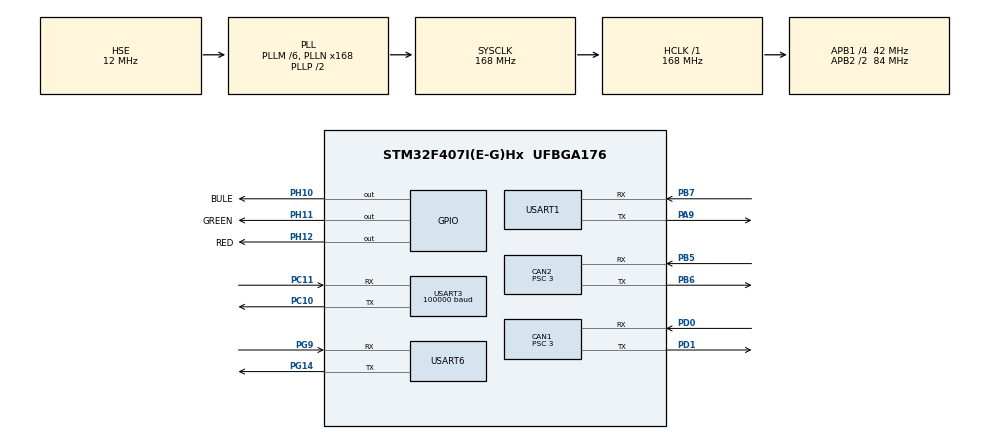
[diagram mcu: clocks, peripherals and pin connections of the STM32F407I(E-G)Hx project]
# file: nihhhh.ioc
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CAN1.BS1=CAN_BS1_10TQ
CAN1.BS2=CAN_BS2_3TQ
CAN1.CalculateBaudRate=1000000
CAN1.CalculateTimeBit=1000
CAN1.CalculateTimeQuantum=71.42857142857143
CAN1.Prescaler=3
CAN2.BS1=CAN_BS1_10TQ
CAN2.BS2=CAN_BS2_3TQ
CAN2.CalculateBaudRate=1000000
CAN2.CalculateTimeBit=1000
CAN2.CalculateTimeQuantum=71.42857142857143
CAN2.Prescaler=3
Dma.Request0=USART1_TX
Dma.Request1=USART3_RX
Dma.USART1_TX.0.Direction=DMA_MEMORY_TO_PERIPH
Dma.USART1_TX.0.FIFOMode=DMA_FIFOMODE_DISABLE
Dma.USART1_TX.0.Instance=DMA2_Stream7
Dma.USART1_TX.0.MemDataAlignment=DMA_MDATAALIGN_BYTE
Dma.USART1_TX.0.MemInc=DMA_MINC_ENABLE
Dma.USART1_TX.0.Mode=DMA_NORMAL
Dma.USART1_TX.0.PeriphDataAlignment=DMA_PDATAALIGN_BYTE
Dma.USART1_TX.0.PeriphInc=DMA_PINC_DISABLE
Dma.USART1_TX.0.Priority=DMA_PRIORITY_VERY_HIGH
Dma.USART3_RX.1.Direction=DMA_PERIPH_TO_MEMORY
Dma.USART3_RX.1.FIFOMode=DMA_FIFOMODE_DISABLE
Dma.USART3_RX.1.Instance=DMA1_Stream1
Dma.USART3_RX.1.MemDataAlignment=DMA_MDATAALIGN_BYTE
Dma.USART3_RX.1.MemInc=DMA_MINC_ENABLE
Dma.USART3_RX.1.Mode=DMA_CIRCULAR
Dma.USART3_RX.1.PeriphDataAlignment=DMA_PDATAALIGN_BYTE
Dma.USART3_RX.1.PeriphInc=DMA_PINC_DISABLE
Dma.USART3_RX.1.Priority=DMA_PRIORITY_VERY_HIGH
FREERTOS.Tasks01=defaultTask,0,128,StartDefaultTask,Default,NULL,Dynamic,NULL,NULL;LED_RED,-3,128,red_led_task,As weak,NULL,Dynamic,NULL,NULL;LED_GREEN,-3,128,green_led_task,As external,NULL,Dynamic,NULL,NULL;LED_BULE,-3,128,bule_led_task,As weak,NULL,Dynamic,NULL,NULL
Mcu.Family=STM32F4
Mcu.Name=STM32F407I(E-G)Hx
Mcu.Package=UFBGA176
NVIC.CAN1_RX0_IRQn=true\:5\:0\:false\:false\:true\:true\:true\:true\:true
NVIC.DMA1_Stream1_IRQn=true\:5\:0\:false\:false\:true\:true\:false\:true\:true
NVIC.DMA2_Stream7_IRQn=true\:5\:0\:false\:false\:true\:true\:false\:true\:true
NVIC.PriorityGroup=NVIC_PRIORITYGROUP_4
NVIC.TIM1_BRK_TIM9_IRQn=true\:5\:0\:false\:false\:true\:true\:true\:true\:true
NVIC.USART1_IRQn=true\:5\:0\:false\:false\:true\:true\:true\:true\:true
NVIC.USART3_IRQn=true\:5\:0\:false\:false\:true\:true\:true\:true\:true
NVIC.USART6_IRQn=true\:5\:0\:false\:false\:true\:true\:true\:true\:true
PA13.Mode=Serial_Wire
PA13.Signal=SYS_JTMS-SWDIO
PA14.Mode=Serial_Wire
PA14.Signal=SYS_JTCK-SWCLK
PA9.Mode=Asynchronous
PA9.Signal=USART1_TX
PB5.Mode=CAN_Activate
PB5.Signal=CAN2_RX
PB6.Mode=CAN_Activate
PB6.Signal=CAN2_TX
PB7.Mode=Asynchronous
PB7.Signal=USART1_RX
PC10.Mode=Asynchronous
PC10.Signal=USART3_TX
PC11.Mode=Asynchronous
PC11.Signal=USART3_RX
PD0.Mode=CAN_Activate
PD0.Signal=CAN1_RX
PD1.Mode=CAN_Activate
PD1.Signal=CAN1_TX
PG14.Mode=Asynchronous
PG14.Signal=USART6_TX
PG9.Mode=Asynchronous
PG9.Signal=USART6_RX
PH0-OSC_IN.Mode=HSE-External-Oscillator
PH0-OSC_IN.Signal=RCC_OSC_IN
PH1-OSC_OUT.Mode=HSE-External-Oscillator
PH1-OSC_OUT.Signal=RCC_OSC_OUT
PH10.GPIO_Label=BULE
PH10.PinState=GPIO_PIN_SET
PH10.Signal=GPIO_Output
PH11.GPIO_Label=GREEN
PH11.PinState=GPIO_PIN_SET
PH11.Signal=GPIO_Output
PH12.GPIO_Label=RED
PH12.PinState=GPIO_PIN_SET
PH12.Signal=GPIO_Output
ProjectManager.HeapSize=0x200
ProjectManager.StackSize=0x400
ProjectManager.TargetToolchain=MDK-ARM V5.32
RCC.48MHZClocksFreq_Value=84000000
RCC.AHBFreq_Value=168000000
RCC.APB1CLKDivider=RCC_HCLK_DIV4
RCC.APB1Freq_Value=42000000
RCC.APB1TimFreq_Value=84000000
RCC.APB2CLKDivider=RCC_HCLK_DIV2
RCC.APB2Freq_Value=84000000
RCC.APB2TimFreq_Value=168000000
RCC.CortexFreq_Value=168000000
RCC.HCLKFreq_Value=168000000
RCC.HSE_VALUE=12000000
RCC.HSI_VALUE=16000000
RCC.LSE_VALUE=32768
RCC.PLLM=6
RCC.PLLN=168
RCC.PLLSourceVirtual=RCC_PLLSOURCE_HSE
RCC.SYSCLKFreq_VALUE=168000000
RCC.SYSCLKSource=RCC_SYSCLKSOURCE_PLLCLK
RCC.VCOOutputFreq_Value=336000000
TIM9.Period=2000-1
TIM9.Prescaler=8400-1
USART1.VirtualMode=VM_ASYNC
USART3.BaudRate=100000
USART3.Parity=PARITY_EVEN
USART3.VirtualMode=VM_ASYNC
USART6.VirtualMode=VM_ASYNC
VP_FREERTOS_VS_CMSIS_V1.Mode=CMSIS_V1
VP_TIM9_VS_ClockSourceINT.Mode=Internal
board=custom

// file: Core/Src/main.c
/* USER CODE BEGIN Header */
/**
  ******************************************************************************
  * @file           : main.c
  * @brief          : Main program body
  ******************************************************************************
  * @attention
  *
  * Copyright (c) 2024 STMicroelectronics.
  * All rights reserved.
  *
  * This software is licensed under terms that can be found in the LICENSE file
  * in the root directory of this software component.
  * If no LICENSE file comes with this software, it is provided AS-IS.
  *
  ******************************************************************************
  */
/* USER CODE END Header */
#include "main.h"
#include "cmsis_os.h"
#include "can.h"
#include "dma.h"
#include "tim.h"
#include "usart.h"
#include "gpio.h"
#include "gimbal_task.h"

/* USER CODE BEGIN PTD */

const fp32 PID_Speed_3508[3]={10000,10,10};  //3508速度环PID参数
const fp32 PID_Speed[3]={40,0.2,10};  //速度环PID参数
const fp32 PID_Angle[3]={150,0,3};
const fp32 PID_Speed_yaw[3] = {20,0,10};
const fp32 PID_Angle_yaw[3] = {500,1,80};
float seth = 175;
float setb = 10;
int a = 0;
int temp = 0;

//const RC_ctrl_t *local_rc_ctrl;

/* USER CODE END PTD */

/* USER CODE BEGIN PM */
float Angle_Change(int a)
{
	return (float)((a/8191.0)*2*180);
}
//**//
float RC_change(int a)
{
	if(a>=0)
	{
		a = (float)((a/660.0)*180+180);
		if(a == 360)
		{
			a = 355;
		}
		return a;
	}
	else
	{
		a = -(float)((-a/660.0)*180-180);
		if(a == 0)
		{
			a = 5;
		}
		return a;
	}
}
/* USER CODE END PM */

void SystemClock_Config(void);
void MX_FREERTOS_Init(void);

/* USER CODE BEGIN 0 */
fp32 Angle_Current_pitch;    //6020电机转换角度(返回ecd范围为0-8191  需转换为0-360 1度为o=fp32(8191/360))
fp32 Angle_Current_yaw;
int speed;

/* USER CODE END 0 */

int main(void)
{

  /* MCU Configuration--------------------------------------------------------*/

  /* Reset of all peripherals, Initializes the Flash interface and the Systick. */
  HAL_Init();

  /* Configure the system clock */
  SystemClock_Config();

  /* Initialize all configured peripherals */
  MX_GPIO_Init();
  MX_DMA_Init();
  MX_CAN1_Init();
  MX_CAN2_Init();
  MX_USART1_UART_Init();
  MX_USART6_UART_Init();
  MX_USART3_UART_Init();
  MX_TIM9_Init();
  /* USER CODE BEGIN 2 */
  can_filter_init();            //滤波器初始化
  //**//
  remote_control_init();
  //**//
  HAL_GPIO_WritePin(GPIOH,GPIO_PIN_10,GPIO_PIN_SET);
  HAL_GPIO_WritePin(GPIOH,GPIO_PIN_11,GPIO_PIN_SET);
  HAL_GPIO_WritePin(GPIOH,GPIO_PIN_12,GPIO_PIN_SET);
  //**//
  HAL_TIM_Base_Start(&htim9);
  HAL_TIM_Base_Start_IT(&htim9);
  //**//

//  motor_data_Angle_yaw = get_yaw_gimbal_motor_measure_point(); //获取电机数据指针编号
//  motor_data_Speed[0] = get_chassis_motor_measure_point(0);
  //**//
	HAL_Delay(10);
  /* USER CODE END 2 */

  /* Call init function for freertos objects (in freertos.c) */
  MX_FREERTOS_Init();

  /* Start scheduler */
  osKernelStart();

  /* We should never get here as control is now taken by the scheduler */
  /* Infinite loop */
  /* USER CODE BEGIN WHILE */
  while (1)
  {
//	  if(Angle_Current>42&Angle_Current<48||Angle_Current>88&Angle_Current<92||Angle_Current>133&Angle_Current<138||Angle_Current>178&Angle_Current<182||Angle_Current>223&Angle_Current<227||Angle_Current>268&Angle_Current<272||Angle_Current>313&Angle_Current<317||Angle_Current>358&Angle_Current<361)
//	  {
//		  seth = seth+45;
//		  if(Angle_Current>360)
//		  {
//			  seth = seth - 360;
//		  }
//
//		  HAL_Delay(1000);
//	  }
//		seth = seth + 0.001*(local_rc_ctrl->rc.ch[0]+25);
//	    if(seth >= 355||seth <= 5)
//		{
//			if(seth >= 355)
//			{
//				seth = 355;
//			}
//			else if(seth <= 5)
//			{
//				seth = 5;
//			}
//		}
//		HAL_CAN_RxFifo0MsgPendingCallback(&hcan1);
//		Angle_Current=Angle_Change(motor_data_Angle_yaw->ecd);
//		PID_calc(&pid_yaw_angle,Angle_Current,seth); //外环
//		PID_calc(&pid_yaw_speed,motor_data_Angle_yaw->speed_rpm,pid_yaw_angle.out); //内环
//
//		CAN_cmd_gimbal(pid_yaw_speed.out,0,0,0);

	  //PID_calc(&pid_s,motor_data_Speed->speed_rpm,1000); //内环
	  //CAN_cmd_chassis(pid_s.out,0,0,0);
	  //CAN_cmd_gimbal(0,0,0,0);
//		if(Angle_Current == 90)
//		{
//			seth = 0;
//		}
		HAL_Delay(2);

    /* USER CODE END WHILE */

  }
}

void SystemClock_Config(void)
{
  RCC_OscInitTypeDef RCC_OscInitStruct = {0};
  RCC_ClkInitTypeDef RCC_ClkInitStruct = {0};

  /** Configure the main internal regulator output voltage
  */
  __HAL_RCC_PWR_CLK_ENABLE();
  __HAL_PWR_VOLTAGESCALING_CONFIG(PWR_REGULATOR_VOLTAGE_SCALE1);

  /** Initializes the RCC Oscillators according to the specified parameters
  * in the RCC_OscInitTypeDef structure.
  */
  RCC_OscInitStruct.OscillatorType = RCC_OSCILLATORTYPE_HSE;
  RCC_OscInitStruct.HSEState = RCC_HSE_ON;
  RCC_OscInitStruct.PLL.PLLState = RCC_PLL_ON;
  RCC_OscInitStruct.PLL.PLLSource = RCC_PLLSOURCE_HSE;
  RCC_OscInitStruct.PLL.PLLM = 6;
  RCC_OscInitStruct.PLL.PLLN = 168;
  RCC_OscInitStruct.PLL.PLLP = RCC_PLLP_DIV2;
  RCC_OscInitStruct.PLL.PLLQ = 4;
  if (HAL_RCC_OscConfig(&RCC_OscInitStruct) != HAL_OK)
  {
    Error_Handler();
  }

  /** Initializes the CPU, AHB and APB buses clocks
  */
  RCC_ClkInitStruct.ClockType = RCC_CLOCKTYPE_HCLK|RCC_CLOCKTYPE_SYSCLK
                              |RCC_CLOCKTYPE_PCLK1|RCC_CLOCKTYPE_PCLK2;
  RCC_ClkInitStruct.SYSCLKSource = RCC_SYSCLKSOURCE_PLLCLK;
  RCC_ClkInitStruct.AHBCLKDivider = RCC_SYSCLK_DIV1;
  RCC_ClkInitStruct.APB1CLKDivider = RCC_HCLK_DIV4;
  RCC_ClkInitStruct.APB2CLKDivider = RCC_HCLK_DIV2;

  if (HAL_RCC_ClockConfig(&RCC_ClkInitStruct, FLASH_LATENCY_5) != HAL_OK)
  {
    Error_Handler();
  }
}

/* USER CODE BEGIN 4 */
void HAL_TIM_PeriodElapsedCallback(TIM_HandleTypeDef *htim)
{
    if(htim == &htim9)
    {

    }
}

void green_led_task(void const * argument)
{
	while(1)
	{
	    if(seth >= 355||seth <= 5)
		{
			if(seth >= 210)
			{
				seth = 210;
			}
			else if(seth <= 175)
			{
				seth = 175;
			}
		}

//		Angle_Current=Angle_Change(motor_data_Angle_yaw->ecd);
//		PID_calc(&pid_yaw_angle,Angle_Current,seth); //外环
//		PID_calc(&pid_yaw_speed,motor_data_Angle_yaw->speed_rpm,pid_yaw_angle.out); //内环
//
//		CAN_cmd_gimbal(pid_yaw_speed.out,0,0,0);
	}
}

void red_led_task(void const * argument)
{
  while(1)
  {
//		HAL_GPIO_WritePin(RED_GPIO_Port,RED_Pin,GPIO_PIN_SET);
//		HAL_Delay(500);
//		HAL_GPIO_WritePin(RED_GPIO_Port,RED_Pin,GPIO_PIN_RESET);
//		HAL_Delay(500);
//		HAL_GPIO_WritePin(RED_GPIO_Port,RED_Pin,GPIO_PIN_RESET);
//		HAL_Delay(500);
  }
}

void bule_led_task(void const * argument)
{
	while(1)
	{
//		HAL_GPIO_WritePin(BULE_GPIO_Port,BULE_Pin,GPIO_PIN_RESET);
//		HAL_Delay(500);
//		HAL_GPIO_WritePin(BULE_GPIO_Port,BULE_Pin,GPIO_PIN_SET);
//		HAL_Delay(500);
//		HAL_GPIO_WritePin(BULE_GPIO_Port,BULE_Pin,GPIO_PIN_RESET);
//		HAL_Delay(500);
	}
}

/* USER CODE END 4 */

void Error_Handler(void)
{
  __disable_irq();
  while (1)
  {
  }
}

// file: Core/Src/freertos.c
/* USER CODE BEGIN Header */
/**
  ******************************************************************************
  * File Name          : freertos.c
  * Description        : Code for freertos applications
  ******************************************************************************
  * @attention
  *
  * Copyright (c) 2024 STMicroelectronics.
  * All rights reserved.
  *
  * This software is licensed under terms that can be found in the LICENSE file
  * in the root directory of this software component.
  * If no LICENSE file comes with this software, it is provided AS-IS.
  *
  ******************************************************************************
  */
/* USER CODE END Header */

#include "FreeRTOS.h"
#include "task.h"
#include "main.h"
#include "cmsis_os.h"

/* USER CODE BEGIN PD */
void chassis_task(void const *pvParameters);
/* USER CODE END PD */

osThreadId defaultTaskHandle;
osThreadId LED_REDHandle;
osThreadId LED_GREENHandle;
osThreadId LED_BULEHandle;
osThreadId gimbalTaskHandle;

/* USER CODE BEGIN FunctionPrototypes */
void gimbal_task(void const *pvParameters);
/* USER CODE END FunctionPrototypes */

void StartDefaultTask(void const * argument);
void red_led_task(void const * argument);
extern void green_led_task(void const * argument);
void bule_led_task(void const * argument);

void MX_FREERTOS_Init(void); /* (MISRA C 2004 rule 8.1) */

/* GetIdleTaskMemory prototype (linked to static allocation support) */
void vApplicationGetIdleTaskMemory( StaticTask_t **ppxIdleTaskTCBBuffer, StackType_t **ppxIdleTaskStackBuffer, uint32_t *pulIdleTaskStackSize );

/* USER CODE BEGIN GET_IDLE_TASK_MEMORY */
static StaticTask_t xIdleTaskTCBBuffer;
static StackType_t xIdleStack[configMINIMAL_STACK_SIZE];

void vApplicationGetIdleTaskMemory( StaticTask_t **ppxIdleTaskTCBBuffer, StackType_t **ppxIdleTaskStackBuffer, uint32_t *pulIdleTaskStackSize )
{
  *ppxIdleTaskTCBBuffer = &xIdleTaskTCBBuffer;
  *ppxIdleTaskStackBuffer = &xIdleStack[0];
  *pulIdleTaskStackSize = configMINIMAL_STACK_SIZE;
  /* place for user code */
}
/* USER CODE END GET_IDLE_TASK_MEMORY */

void MX_FREERTOS_Init(void) {

  /* Create the thread(s) */
  /* definition and creation of defaultTask */
  osThreadDef(defaultTask, StartDefaultTask, osPriorityNormal, 0, 128);
  defaultTaskHandle = osThreadCreate(osThread(defaultTask), NULL);

  /* definition and creation of LED_RED */
  osThreadDef(LED_RED, red_led_task, osPriorityIdle, 0, 128);
  LED_REDHandle = osThreadCreate(osThread(LED_RED), NULL);

  /* definition and creation of LED_GREEN */
  osThreadDef(LED_GREEN, green_led_task, osPriorityIdle, 0, 128);
  LED_GREENHandle = osThreadCreate(osThread(LED_GREEN), NULL);

  /* definition and creation of LED_BULE */
  osThreadDef(LED_BULE, bule_led_task, osPriorityIdle, 0, 128);
  LED_BULEHandle = osThreadCreate(osThread(LED_BULE), NULL);

  osThreadDef(gimbalTask, gimbal_task, osPriorityHigh, 0, 512);
  gimbalTaskHandle = osThreadCreate(osThread(gimbalTask), NULL);

}

void StartDefaultTask(void const * argument)
{
  for(;;)
  {
    osDelay(1);
  }
}

__weak void red_led_task(void const * argument)
{
  for(;;)
  {
    osDelay(1);
  }
}

__weak void bule_led_task(void const * argument)
{
  for(;;)
  {
    osDelay(1);
  }
}
